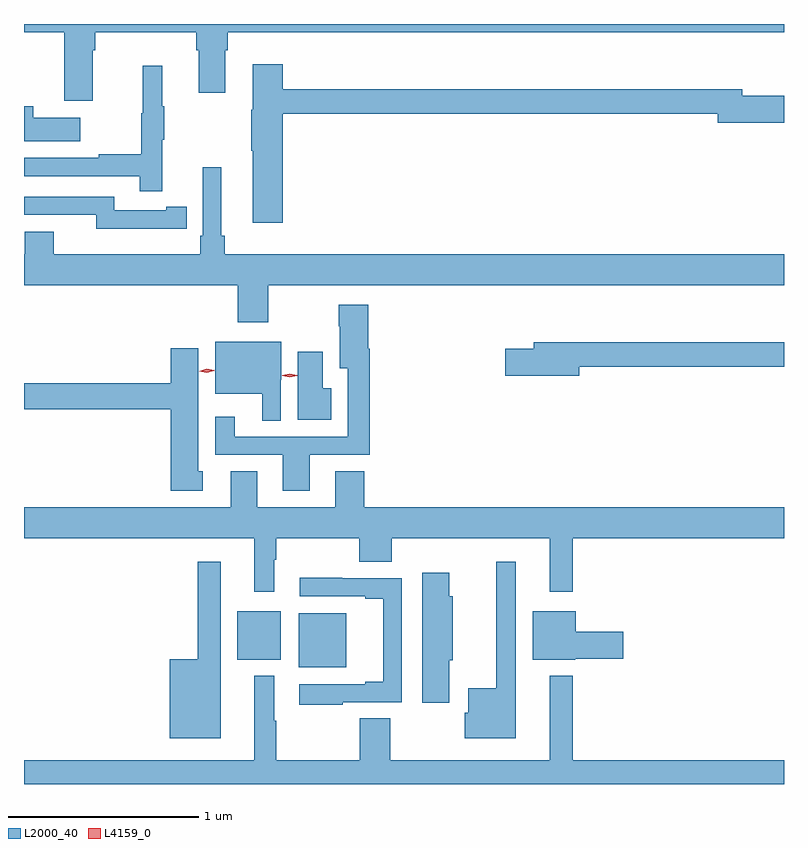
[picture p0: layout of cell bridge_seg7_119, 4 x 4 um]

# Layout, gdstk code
import gdstk
lib = gdstk.Library(unit=1e-6, precision=1e-09)
def R(c, l, rs):  # rectangles x0, y0, x1, y1
    for r in rs: c.add(gdstk.rectangle(r[:2], r[2:], *l))
def P(c, l, *ps):  # polygons
    for p in ps: c.add(gdstk.Polygon(p, *l))
L2000_40 = (2000, 40)
L4159_0 = (4159, 0)

bridge_seg7_119 = lib.new_cell('bridge_seg7_119')
R(bridge_seg7_119, L2000_40, [(802.277,1055.882,802.525,1056.166), (801.953,1055.921,802.18,1056.175)])
P(bridge_seg7_119, L2000_40, [(800.83,1059.224),(801.041,1059.224),(801.041,1058.862),(801.193,1058.862),(801.193,1059.128),(801.206,1059.128),(801.206,1059.224),(801.737,1059.224),(801.737,1059.128),(801.749,1059.128),(801.749,1058.904),(801.889,1058.904),(801.889,1059.128),(801.902,1059.128),(801.902,1059.224),(804.83,1059.224),(804.83,1059.267),(800.83,1059.267)],
  [(802.193,1058.794),(804.482,1058.794),(804.482,1058.747),(804.83,1058.747),(804.83,1058.889),(804.61,1058.889),(804.61,1058.923),(802.193,1058.923),(802.193,1059.055),(802.034,1059.055),(802.034,1058.817),(802.027,1058.817),(802.027,1058.599),(802.034,1058.599),(802.034,1058.22),(802.193,1058.22)],
  [(801.557,1058.659),(801.568,1058.659),(801.568,1058.833),(801.557,1058.833),(801.557,1059.046),(801.454,1059.046),(801.454,1058.796),(801.447,1058.796),(801.447,1058.582),(801.223,1058.582),(801.223,1058.562),(800.83,1058.562),(800.83,1058.466),(801.439,1058.466),(801.439,1058.388),(801.557,1058.388)],
  [(801.127,1058.773),(800.879,1058.773),(800.879,1058.833),(800.83,1058.833),(800.83,1058.651),(801.127,1058.651)],
  [(802.116,1057.892),(804.83,1057.892),(804.83,1058.056),(801.887,1058.056),(801.887,1058.152),(801.868,1058.152),(801.868,1058.512),(801.771,1058.512),(801.771,1058.152),(801.758,1058.152),(801.758,1058.056),(800.986,1058.056),(800.986,1058.173),(800.834,1058.173),(800.834,1058.056),(800.83,1058.056),(800.83,1057.892),(801.956,1057.892),(801.956,1057.698),(802.116,1057.698)],
  [(801.578,1058.19),(801.686,1058.19),(801.686,1058.306),(801.578,1058.306),(801.578,1058.286),(801.306,1058.286),(801.306,1058.358),(800.83,1058.358),(800.83,1058.262),(801.21,1058.262),(801.21,1058.189),(801.578,1058.189)],
  [(802.333,1056.999),(802.649,1056.999),(802.649,1057.558),(802.643,1057.558),(802.643,1057.789),(802.486,1057.789),(802.486,1057.676),(802.493,1057.676),(802.493,1057.454),(802.533,1057.454),(802.533,1057.095),(801.94,1057.095),(801.94,1057.201),(801.836,1057.201),(801.836,1056.999),(802.193,1056.999),(802.193,1056.81),(802.333,1056.81)],
  [(802.182,1057.394),(802.183,1057.394),(802.183,1057.594),(801.836,1057.594),(801.836,1057.322),(802.085,1057.322),(802.085,1057.18),(802.182,1057.18)],
  [(803.752,1057.462),(804.83,1057.462),(804.83,1057.591),(803.513,1057.591),(803.513,1057.557),(803.364,1057.557),(803.364,1057.415),(803.752,1057.415)],
  [(801.772,1056.912),(801.748,1056.912),(801.748,1057.561),(801.602,1057.561),(801.602,1057.376),(800.83,1057.376),(800.83,1057.24),(801.602,1057.24),(801.602,1056.81),(801.772,1056.81)],
  [(802.448,1057.349),(802.402,1057.349),(802.402,1057.543),(802.271,1057.543),(802.271,1057.184),(802.448,1057.184)],
  [(802.147,1056.448),(802.157,1056.448),(802.157,1056.56),(802.594,1056.56),(802.594,1056.436),(802.766,1056.436),(802.766,1056.56),(803.597,1056.56),(803.597,1056.279),(803.719,1056.279),(803.719,1056.56),(804.83,1056.56),(804.83,1056.724),(802.622,1056.724),(802.622,1056.914),(802.469,1056.914),(802.469,1056.724),(802.057,1056.724),(802.057,1056.914),(801.917,1056.914),(801.917,1056.724),(800.83,1056.724),(800.83,1056.56),(802.043,1056.56),(802.043,1056.279),(802.147,1056.279)],
  [(803.419,1056.436),(803.315,1056.436),(803.315,1055.77),(803.168,1055.77),(803.168,1055.643),(803.15,1055.643),(803.15,1055.507),(803.419,1055.507)],
  [(801.865,1056.436),(801.744,1056.436),(801.744,1055.923),(801.596,1055.923),(801.596,1055.507),(801.865,1055.507)],
  [(803.068,1055.919),(803.086,1055.919),(803.086,1056.255),(803.068,1056.255),(803.068,1056.379),(802.925,1056.379),(802.925,1055.694),(803.068,1055.694)],
  [(802.508,1055.697),(802.818,1055.697),(802.818,1056.351),(802.505,1056.351),(802.505,1056.353),(802.281,1056.353),(802.281,1056.255),(802.625,1056.255),(802.625,1056.243),(802.721,1056.243),(802.721,1055.806),(802.625,1055.806),(802.625,1055.793),(802.278,1055.793),(802.278,1055.685),(802.508,1055.685)],
  [(803.73,1055.927),(803.983,1055.927),(803.983,1056.069),(803.734,1056.069),(803.734,1056.175),(803.507,1056.175),(803.507,1055.921),(803.73,1055.921)],
  [(802.147,1055.6),(802.147,1055.836),(802.043,1055.836),(802.043,1055.392),(800.83,1055.392),(800.83,1055.267),(804.83,1055.267),(804.83,1055.392),(803.719,1055.392),(803.719,1055.836),(803.597,1055.836),(803.597,1055.392),(802.758,1055.392),(802.758,1055.612),(802.597,1055.612),(802.597,1055.392),(802.157,1055.392),(802.157,1055.6)])
P(bridge_seg7_119, L4159_0, [(802.228,1057.407),(802.188,1057.417),(802.188,1057.417),(802.188,1057.418),(802.228,1057.427),(802.269,1057.418),(802.269,1057.417),(802.269,1057.417)],
  [(801.792,1057.432),(801.752,1057.44),(801.752,1057.44),(801.752,1057.44),(801.791,1057.452),(801.831,1057.444),(801.831,1057.443),(801.831,1057.443)])

lib.write_gds('bridge_seg7_119.gds')
